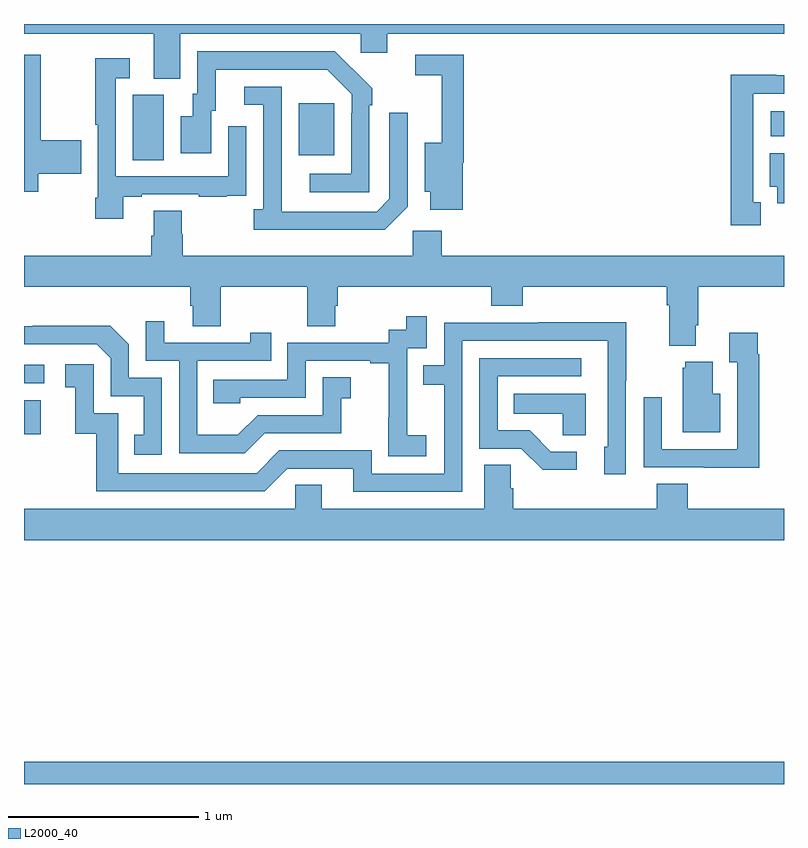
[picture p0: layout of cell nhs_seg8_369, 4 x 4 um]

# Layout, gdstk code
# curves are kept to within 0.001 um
import gdstk
lib = gdstk.Library(unit=1e-6, precision=1e-09)
def R(c, l, rs):  # rectangles x0, y0, x1, y1
    for r in rs: c.add(gdstk.rectangle(r[:2], r[2:], *l))
def P(c, l, *ps):  # polygons
    for p in ps: c.add(gdstk.Polygon(p, *l))
L2000_40 = (2000, 40)

nhs_seg8_369 = lib.new_cell('nhs_seg8_369')
R(nhs_seg8_369, L2000_40, [(135,1097.9,139,1098.016), (135,1099.74,135.088,1099.921), (135,1100.01,135.106,1100.106), (135.572,1101.184,135.736,1101.528), (136.445,1101.209,136.633,1101.484), (138.93,1101.308,139,1101.442)])
P(nhs_seg8_369, L2000_40, [(135.823,1101.848),(136.773,1101.848),(136.773,1101.75),(136.912,1101.75),(136.912,1101.848),(139,1101.848),(139,1101.9),(135,1101.9),(135,1101.848),(135.683,1101.848),(135.683,1101.613),(135.823,1101.613)],
  [(136.818,1101.473),(136.833,1101.473),(136.833,1101.561),(136.636,1101.756),(135.912,1101.756),(135.912,1101.534),(135.887,1101.534),(135.887,1101.415),(135.824,1101.415),(135.824,1101.219),(135.985,1101.219),(135.985,1101.444),(136.009,1101.444),(136.009,1101.66),(136.597,1101.66),(136.725,1101.531),(136.725,1101.431),(136.722,1101.431),(136.722,1101.111),(136.503,1101.111),(136.503,1101.015),(136.818,1101.015)],
  [(135.076,1101.112),(135.301,1101.112),(135.301,1101.287),(135.088,1101.287),(135.088,1101.738),(135,1101.738),(135,1101.017),(135.076,1101.017)],
  [(137.309,1101.17),(137.315,1101.17),(137.315,1101.738),(137.058,1101.738),(137.058,1101.63),(137.198,1101.63),(137.198,1101.274),(137.108,1101.274),(137.108,1101.017),(137.138,1101.017),(137.138,1100.922),(137.309,1100.922)],
  [(135.523,1100.991),(135.619,1100.991),(135.619,1101.003),(135.919,1101.003),(135.919,1100.991),(136.067,1100.991),(136.067,1100.997),(136.169,1100.997),(136.169,1101.106),(136.17,1101.106),(136.17,1101.361),(136.074,1101.361),(136.074,1101.099),(135.483,1101.099),(135.483,1101.615),(135.556,1101.615),(135.556,1101.721),(135.375,1101.721),(135.375,1101.37),(135.387,1101.37),(135.387,1100.986),(135.374,1100.986),(135.374,1100.874),(135.523,1100.874)],
  [(138.877,1100.961),(138.838,1100.961),(138.838,1101.534),(139,1101.534),(139,1101.63),(138.96,1101.63),(138.96,1101.632),(138.72,1101.632),(138.72,1100.841),(138.877,1100.841)],
  [(137.019,1100.937),(137.019,1101.433),(136.923,1101.433),(136.923,1100.979),(136.857,1100.913),(136.357,1100.913),(136.356,1101.57),(136.158,1101.57),(136.158,1101.474),(136.26,1101.474),(136.26,1100.926),(136.209,1100.926),(136.209,1100.816),(136.898,1100.816)],
  [(139,1101.22),(138.926,1101.22),(138.926,1101.044),(138.965,1101.044),(138.965,1100.957),(139,1100.957)],
  [(138.535,1100.314),(138.548,1100.314),(138.548,1100.516),(139,1100.516),(139,1100.68),(137.198,1100.68),(137.198,1100.812),(137.046,1100.812),(137.046,1100.68),(135.836,1100.68),(135.836,1100.793),(135.831,1100.793),(135.831,1100.918),(135.683,1100.918),(135.683,1100.786),(135.671,1100.786),(135.671,1100.68),(135,1100.68),(135,1100.516),(135.875,1100.516),(135.875,1100.418),(135.887,1100.418),(135.887,1100.308),(136.035,1100.308),(136.035,1100.516),(136.492,1100.516),(136.492,1100.308),(136.639,1100.308),(136.639,1100.418),(136.652,1100.418),(136.652,1100.516),(137.459,1100.516),(137.459,1100.417),(137.624,1100.417),(137.624,1100.516),(138.383,1100.516),(138.383,1100.42),(138.395,1100.42),(138.395,1100.207),(138.535,1100.207)],
  [(137.116,1099.735),(137.018,1099.735),(137.018,1099.964),(137.016,1099.964),(137.016,1100.193),(137.121,1100.193),(137.121,1100.362),(137.013,1100.362),(137.013,1100.292),(136.92,1100.292),(136.92,1100.223),(136.386,1100.223),(136.386,1100.028),(135.997,1100.028),(135.997,1099.905),(136.137,1099.905),(136.137,1099.932),(136.482,1099.932),(136.482,1100.127),(136.823,1100.127),(136.823,1100.115),(136.919,1100.115),(136.919,1099.831),(136.918,1099.831),(136.918,1099.625),(137.116,1099.625)],
  [(136.267,1099.746),(136.671,1099.746),(136.671,1099.931),(136.72,1099.931),(136.72,1100.041),(136.572,1100.041),(136.572,1099.842),(136.23,1099.842),(136.126,1099.738),(135.912,1099.738),(135.912,1100.127),(136.301,1100.127),(136.301,1100.275),(136.19,1100.275),(136.19,1100.223),(135.739,1100.223),(135.739,1100.335),(135.642,1100.335),(135.642,1100.127),(135.816,1100.127),(135.816,1099.641),(136.162,1099.641)],
  [(137.307,1100.232),(138.072,1100.232),(138.072,1099.674),(138.053,1099.674),(138.053,1099.53),(138.168,1099.53),(138.168,1100.023),(138.171,1100.023),(138.171,1100.33),(137.707,1100.33),(137.707,1100.328),(137.211,1100.328),(137.211,1100.103),(137.101,1100.103),(137.101,1100.002),(137.211,1100.002),(137.211,1099.533),(136.83,1099.533),(136.83,1099.656),(136.344,1099.656),(136.224,1099.536),(135.495,1099.536),(135.495,1099.851),(135.366,1099.851),(135.366,1100.11),(135.216,1100.11),(135.216,1099.989),(135.269,1099.989),(135.269,1099.743),(135.379,1099.743),(135.379,1099.44),(136.266,1099.44),(136.386,1099.56),(136.733,1099.56),(136.733,1099.437),(137.307,1099.437)],
  [(135.726,1100.037),(135.552,1100.037),(135.552,1100.214),(135.454,1100.312),(135.046,1100.312),(135.046,1100.31),(135,1100.31),(135,1100.214),(135.384,1100.214),(135.456,1100.142),(135.456,1099.941),(135.629,1099.941),(135.629,1099.737),(135.58,1099.737),(135.58,1099.632),(135.726,1099.632)],
  [(138.869,1100.162),(138.862,1100.162),(138.862,1100.275),(138.713,1100.275),(138.713,1100.119),(138.753,1100.119),(138.753,1099.662),(138.357,1099.662),(138.357,1099.936),(138.261,1099.936),(138.261,1099.566),(138.577,1099.566),(138.577,1099.565),(138.869,1099.565)],
  [(137.908,1099.65),(137.773,1099.65),(137.662,1099.761),(137.493,1099.761),(137.493,1100.046),(137.932,1100.046),(137.932,1100.142),(137.397,1100.142),(137.397,1099.665),(137.616,1099.665),(137.729,1099.553),(137.908,1099.553)],
  [(138.664,1099.954),(138.625,1099.954),(138.625,1100.122),(138.479,1100.122),(138.479,1100.091),(138.467,1100.091),(138.467,1099.751),(138.664,1099.751)],
  [(137.956,1099.954),(137.578,1099.954),(137.578,1099.85),(137.835,1099.85),(137.835,1099.735),(137.956,1099.735)],
  [(139,1099.348),(138.494,1099.348),(138.494,1099.481),(138.329,1099.481),(138.329,1099.348),(137.576,1099.348),(137.576,1099.457),(137.562,1099.457),(137.562,1099.58),(137.423,1099.58),(137.423,1099.348),(136.567,1099.348),(136.567,1099.475),(136.428,1099.475),(136.428,1099.348),(135,1099.348),(135,1099.184),(139,1099.184)])

lib.write_gds('nhs_seg8_369.gds')
